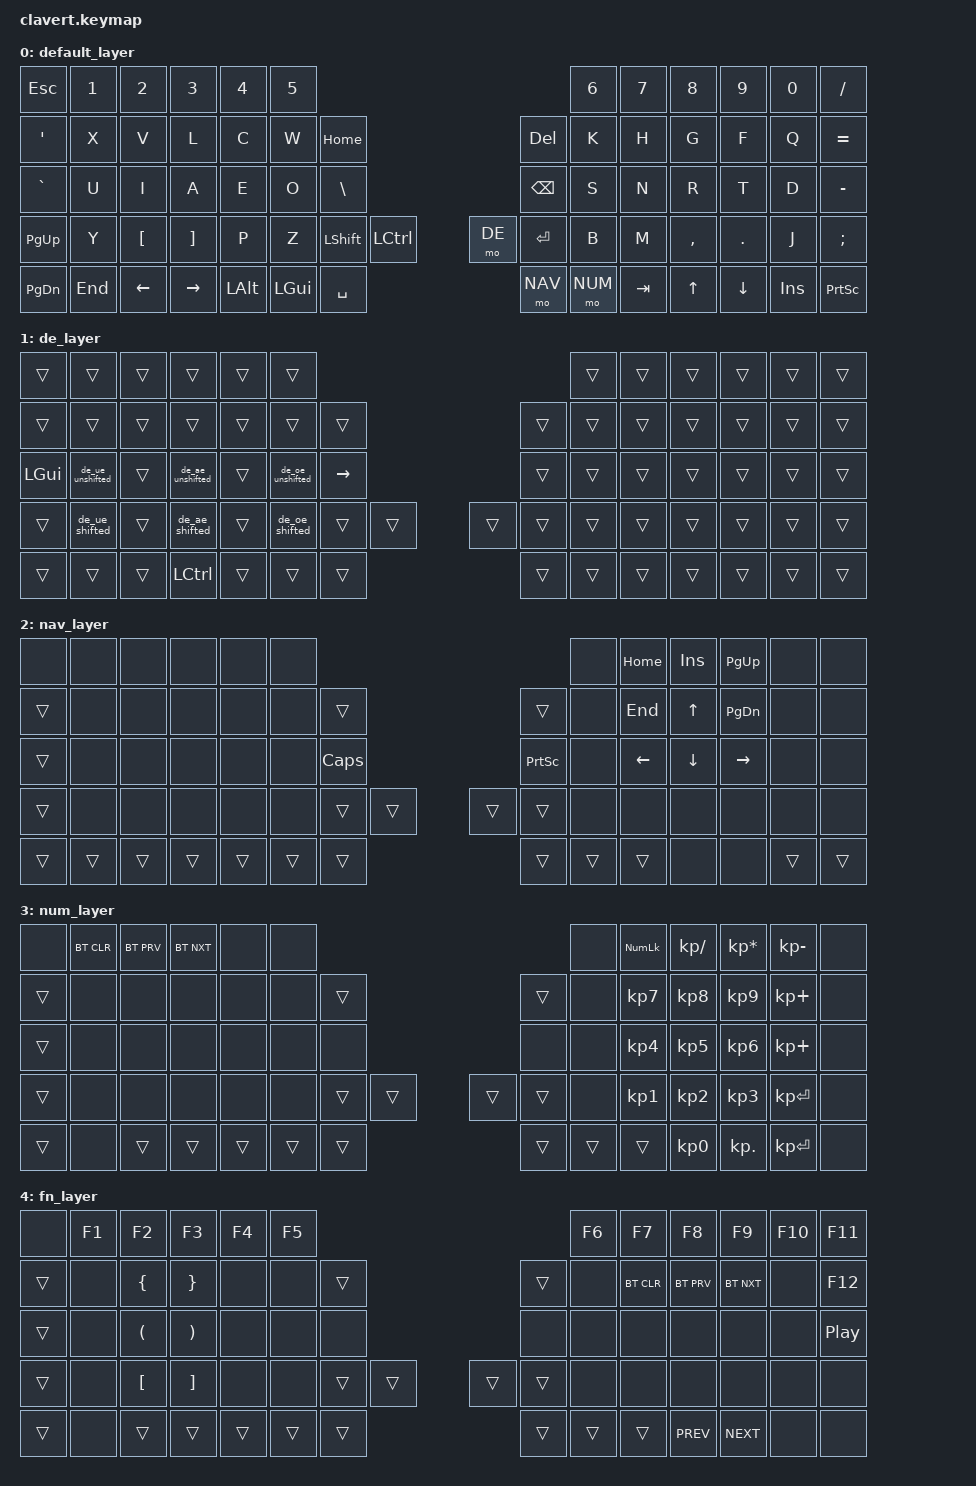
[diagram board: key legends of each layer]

  /*
  * Copyright (c) 2020 The ZMK Contributors
  *
  * SPDX-License-Identifier: MIT
  */

  #include <behaviors.dtsi>
  #include <dt-bindings/zmk/keys.h>
  #include <dt-bindings/zmk/bt.h>
  #include <dt-bindings/zmk/ext_power.h>

  #define DEFAULT 0
  #define DE 1
  #define NAV 2
  #define NUM 3
  #define FN 4

  &sk {
    release-after-ms = <2000>;
    quick-release;
    /delete-property/ ignore-modifiers;
  };

/ {
    macros {
        de_ae_shifted: de_ae_shifted {
            compatible = "zmk,behavior-macro";
            #binding-cells = <0>;
           wait-ms = <0>;
           tap-ms = <0>;
        bindings
            = <&macro_press   &kp LALT>
            , <&macro_tap     &kp KP_N1 &kp KP_N4 &kp KP_N2>
            , <&macro_release &kp LALT>
          ;
        };
        de_ue_shifted: de_ue_shifted {
            compatible = "zmk,behavior-macro";
            #binding-cells = <0>;
           wait-ms = <0>;
           tap-ms = <0>;
        bindings
            = <&macro_press   &kp LALT>
            , <&macro_tap     &kp KP_N1 &kp KP_N5 &kp KP_N4>
            , <&macro_release &kp LALT>
          ;
        };
        de_oe_shifted: de_oe_shifted {
            compatible = "zmk,behavior-macro";
            #binding-cells = <0>;
           wait-ms = <0>;
           tap-ms = <0>;
        bindings
            = <&macro_press   &kp LALT>
            , <&macro_tap     &kp KP_N1 &kp KP_N5 &kp KP_N3>
            , <&macro_release &kp LALT>
          ;
        };de_ae_unshifted: de_ae_unshifted {
            compatible = "zmk,behavior-macro";
            #binding-cells = <0>;
           wait-ms = <0>;
           tap-ms = <0>;
        bindings
            = <&macro_press   &kp LALT>
            , <&macro_tap     &kp KP_N1 &kp KP_N3 &kp KP_N2>
            , <&macro_release &kp LALT>
          ;
        };
        de_ue_unshifted: de_ue_unshifted {
            compatible = "zmk,behavior-macro";
            #binding-cells = <0>;
           wait-ms = <0>;
           tap-ms = <0>;
        bindings
            = <&macro_press   &kp LALT>
            , <&macro_tap     &kp KP_N1 &kp KP_N2 &kp KP_N9>
            , <&macro_release &kp LALT>
          ;
        };
        de_oe_unshifted: de_oe_unshifted {
            compatible = "zmk,behavior-macro";
            #binding-cells = <0>;
           wait-ms = <0>;
           tap-ms = <0>;
        bindings
            = <&macro_press   &kp LALT>
            , <&macro_tap     &kp KP_N1 &kp KP_N4 &kp KP_N8>
            , <&macro_release &kp LALT>
          ;
        };
    };
};

  / {
    keymap {
      compatible = "zmk,keymap";
        default_layer {
// -----------------------------------------------------------------------------------------------------------------------------------------
// | ESC        | 1     | 2    | 3     | 4     | 5    |                                               | 6   | 7   | 8     | 9    | 0   | FSLH |
// | SQT        | X     | V    | L     | C     | W    | HOME  |                            | DEL      | K   | H   | G     | F    | Q   | =     |
// | GRAVE      | U     | I    | A     | E     | O    | \     |                            | BSPC     | S   | N   | R     | T    | D   | MINUS |
// | PG_UP      | Y     | [    | ]     | P     | Z    | LSHFT | LCTRL   |         | MOD1   | ENTER    | B   | M   | COMMA | DOT  | J   | SEMI  |
// | PG_DN      | END   | LEFT | RIGHT |      LALT    | LGUI  | SPACE   |         | MOD2   | MOD3     | TAB       | UP    | DOWN | INS | PRTSCN|
          bindings = <
    &kp ESC      &kp N1    &kp N2    &kp N3    &kp N4    &kp N5                                                         &kp N6   &kp N7 &kp N8    &kp N9    &kp N0   &kp FSLH
    &kp SQT      &kp X     &kp V     &kp L     &kp C     &kp W  &kp HOME                                      &kp DEL   &kp K    &kp H  &kp G     &kp F     &kp Q    &kp EQUAL
    &kp GRAVE    &kp U     &kp I     &kp A     &kp E     &kp O  &kp BSLH                                      &kp BSPC  &kp S    &kp N  &kp R     &kp T     &kp D    &kp MINUS
    &kp PG_UP    &kp Y     &kp LBKT  &kp RBKT  &kp P     &kp Z  &kp LSHFT   &kp LCTRL               &mo DE    &kp ENTER &kp B    &kp M  &kp COMMA &kp DOT   &kp J    &kp SEMI
    &kp PG_DN    &kp END   &kp LEFT  &kp RIGHT     &kp LALT     &kp LGUI    &kp SPACE               &mo NAV   &mo NUM      &kp TAB   &kp UP    &kp DOWN  &kp INS  &kp PSCRN
          >;

 
       };

        de_layer {
// ------------------------------------------------------------------------------------------------------------------------------------
// | trans | trans | trans | trans | trans | trans |                                  | trans | trans | trans | trans | trans | trans |
// | trans | trans | trans | trans | trans | trans | trans |                  | trans | trans | trans | trans | trans | trans | trans |
// | LGUI  | de_UE | trans | de_AE | trans | DE_OE | right  |                  | trans | de_sz | trans | trans | trans | trans | trans |
// | trans | de_ue | trans | de_ae | trans | de_oe | trans | trans |  | trans | trans | trans | trans | trans | trans | trans | trans |
// | trans | trans | trans | LCTRL | trans         | trans | trans |  | trans | trans | trans         | trans | trans | trans | trans |
          bindings = <
    &trans   &trans &trans    &trans    &trans &trans                                  &trans &trans &trans &trans &trans &trans
    &trans   &trans &trans    &trans    &trans &trans &trans                    &trans &trans &trans &trans &trans &trans &trans
    &kp LGUI &de_ue_unshifted   &trans &de_ae_unshifted    &trans &de_oe_unshifted &kp RIGHT                  &trans &trans &trans &trans &trans &trans &trans
    &trans   &de_ue_shifted &trans &de_ae_shifted  &trans &de_oe_shifted   &trans   &trans    &trans &trans &trans &trans &trans &trans &trans &trans
    &trans   &trans           &trans &kp LCTRL &trans        &trans   &trans    &trans &trans &trans        &trans &trans &trans &trans
          >;
        };

        nav_layer {
// ---------------------------------------------------------------------------------------------------------------------------------
// | none  | none  | none  | none  | none  | none |                                  | none  | HOME | INS  | PG_UP | none  | none  |
// | trans | none  | none  | none  | none  | none | trans |                  | trans | none  | END  | UP   | PG_DN | none  | none  |
// | trans | none  | none  | none  | none  | none | CAPS  |                  | PSCRN | none  | LEFT | DOWN | RIGHT | none  | none  |
// | trans | none  | none  | none  | none  | none | trans | trans |  | TgMAC | trans | none  | none | none | none  | none  | none  |
// | trans | trans | trans | trans | trans        | trans | trans |  | trans | trans | trans        | none | none  | trans | trans |
          bindings = <
    &none  &none  &none  &none  &none  &none                                        &none &kp HOME &kp INS  &kp PG_UP &none  &none 
    &trans &none  &none  &none  &none  &none  &trans                      &trans    &none &kp END  &kp UP   &kp PG_DN &none  &none 
    &trans &none  &none  &none  &none  &none  &kp CAPS                    &kp PSCRN &none &kp LEFT &kp DOWN &kp RIGHT &none  &none 
    &trans &none  &none  &none  &none  &none  &trans   &trans    &trans &trans    &none &none    &none    &none     &none  &none 
    &trans &trans &trans &trans &trans        &trans   &trans    &trans   &trans    &trans         &none    &none     &trans &trans
          >;

        
        };

        num_layer {
// -------------------------------------------------------------------------------------------------------------------------------
// | none  | BT_CLR | BT_PRV | BT_NXT | none  | none |                                  | none  | NUMLOCK | /   | *   | -     | none |
// | trans | none   | none   | none   | none  | none | trans |                  | trans | none  | 7       | 8   | 9   | +     | none |
// | trans | none   | none   | none   | none  | none | none  |                  | none  | none  | 4       | 5   | 6   | +     | none |
// | trans | none   | none   | none   | none  | none | trans | trans |  | trans | trans | none  | 1       | 2   | 3   | ENTER | none |
// | trans | none   | trans  | trans  | trans        | trans | trans |  | trans | trans | trans           | 0   | .   | ENTER | none |
          bindings = <
    &none  &bt BT_CLR  &bt BT_PRV &bt BT_NXT  &none  &none                                    &none  &kp KP_NUM &kp KP_SLASH &kp KP_ASTERISK &kp KP_MINUS &none
    &trans &none &none  &none  &none  &none  &trans                     &trans &none  &kp KP_N7  &kp KP_N8    &kp KP_N9       &kp KP_PLUS  &none 
    &trans &none &none  &none  &none  &none  &none                      &none  &none  &kp KP_N4  &kp KP_N5    &kp KP_N6       &kp KP_PLUS  &none 
    &trans &none &none  &none  &none  &none  &trans   &trans    &trans  &trans &none  &kp KP_N1  &kp KP_N2    &kp KP_N3       &kp KP_ENTER &none 
    &trans &none &trans &trans &trans        &trans   &trans    &trans  &trans &trans            &kp KP_N0    &kp KP_DOT      &kp KP_ENTER &none
          >;

          
        };

        fn_layer {
// --------------------------------------------------------------------------------------------------------------------------------------------------
// | none  | F1   | F2    | F3    | F4    | F5         |                                  | F6         | F7     | F8     | F9      | F10  | F11  |
// | trans | none | {     | }     | none  | none       | trans |                  | trans | none       | BT_CLR | BT_PRV | BT_NXT  | none | F12  |
// | trans | none | (     | )     | none  | none      | none  |                  | none  | none      | none   | none   | none    | none | PLAY |
// | trans | none | [     | ]     | none  | none | trans | trans |  | trans | trans | none | none   | none   | none    | none | none |
// | trans | none | trans | trans | trans              | trans | trans |  | trans | trans | trans               | REWIND | FASTFWR | none | none |
          bindings = <
    &none &kp F1 &kp F2      &kp F3      &kp F4 &kp F5                                        &kp F6      &kp F7      &kp F8     &kp F9     &kp F10 &kp F11
    &trans &none  &kp LBRC    &kp RBRC    &none  &none       &trans                     &trans &none       &bt BT_CLR  &bt BT_PRV &bt BT_NXT &none   &kp F12
    &trans &none  &kp LPAR    &kp RPAR    &none  &none      &none                      &none  &none      &none       &none      &none      &none   &kp C_PP
    &trans &none  &kp LBKT    &kp RBKT    &none  &none &trans   &trans    &trans  &trans &none &none       &none      &none      &none   &none 
    &trans &none  &trans      &trans      &trans             &trans   &trans    &trans  &trans &trans                  &kp C_PREV &kp C_NEXT &none   &none
          >;

          
        };
    };
  };
  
